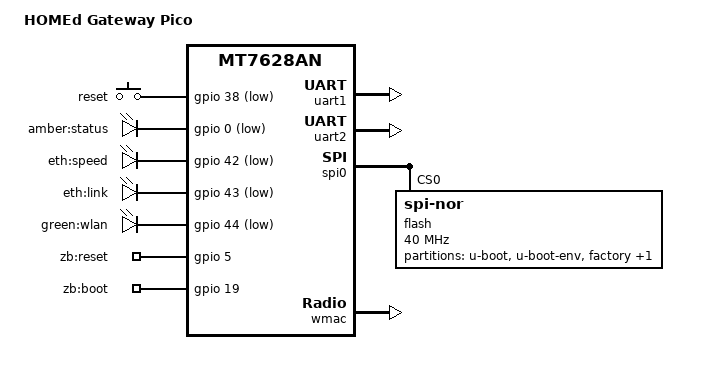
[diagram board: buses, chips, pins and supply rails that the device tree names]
// SPDX-License-Identifier: GPL-2.0-or-later OR MIT

#include "mt7628an.dtsi"

#include <dt-bindings/gpio/gpio.h>
#include <dt-bindings/input/input.h>

/ {
	compatible = "homed,pico", "mediatek,mt7628an-soc";
	model = "HOMEd Gateway Pico";

	aliases {
		led-boot = &led_wlan;
		led-failsafe = &led_wlan;
		led-upgrade = &led_wlan;
		label-mac-device = &ethernet;
	};

	keys {
		compatible = "gpio-keys";

		reset {
			label = "reset";
			gpios = <&gpio 38 GPIO_ACTIVE_LOW>;
			linux,code = <KEY_RESTART>;
		};
	};

	leds {
		compatible = "gpio-leds";

		led_status: status {
			label = "amber:status";
			gpios = <&gpio 0 GPIO_ACTIVE_LOW>;
		};

		led_speed: speed {
			label = "eth:speed";
			gpios = <&gpio 42 GPIO_ACTIVE_LOW>;
		};

		led_link: link {
			label = "eth:link";
			gpios = <&gpio 43 GPIO_ACTIVE_LOW>;
		};

		led_wlan: wlan {
			label = "green:wlan";
			gpios = <&gpio 44 GPIO_ACTIVE_LOW>;
			linux,default-trigger = "phy0tpt";
		};
	};
	
	gpio_export {
                compatible = "gpio-export";
                #size-cells = <0>;

                zigbee_rst {
                        gpio-export,name = "zb:reset";
                        gpio-export,output = <1>;
                        gpios = <&gpio 5 GPIO_ACTIVE_HIGH>;
                };

                zigbee_boot {
                        gpio-export,name = "zb:boot";
                        gpio-export,output = <1>;
                        gpios = <&gpio 19 GPIO_ACTIVE_HIGH>;
                };
        };
};

&state_default {
	gpio {
		groups = "i2c", "i2s", "refclk", "wdt", "p4led_an", "p2led_an", "p1led_an", "p0led_an", "wled_an";
		function = "gpio";
	};
};

&uart1 {
	status = "okay";
};

&uart2 {
	status = "okay";
};

&spi0 {
	status = "okay";

	pinctrl-names = "default";
	pinctrl-0 = <&spi_pins>, <&spi_cs1_pins>;

	flash@0 {
		compatible = "jedec,spi-nor";
		reg = <0>;
		spi-max-frequency = <40000000>;
		broken-flash-reset;

		partitions {
			compatible = "fixed-partitions";
			#address-cells = <1>;
			#size-cells = <1>;

			partition@0 {
				label = "u-boot";
				reg = <0x0 0x30000>;
				read-only;
			};

			partition@30000 {
				label = "u-boot-env";
				reg = <0x30000 0x10000>;
				read-only;
			};

			factory: partition@40000 {
				label = "factory";
				reg = <0x40000 0x10000>;
				read-only;
			};

			partition@50000 {
				compatible = "denx,uimage";
				label = "firmware";
				reg = <0x50000 0x1fb0000>;
			};
		};
	};
};

&ethernet {
	nvmem-cells = <&macaddr_factory_28>;
	nvmem-cell-names = "mac-address";
};

&esw {
	mediatek,portmap = <0x3e>;
};

&wmac {
	status = "okay";

	mediatek,mtd-eeprom = <&factory 0x0>;
};

&factory {
	compatible = "nvmem-cells";
	#address-cells = <1>;
	#size-cells = <1>;

	macaddr_factory_28: macaddr@28 {
		reg = <0x28 0x6>;
	};
};
